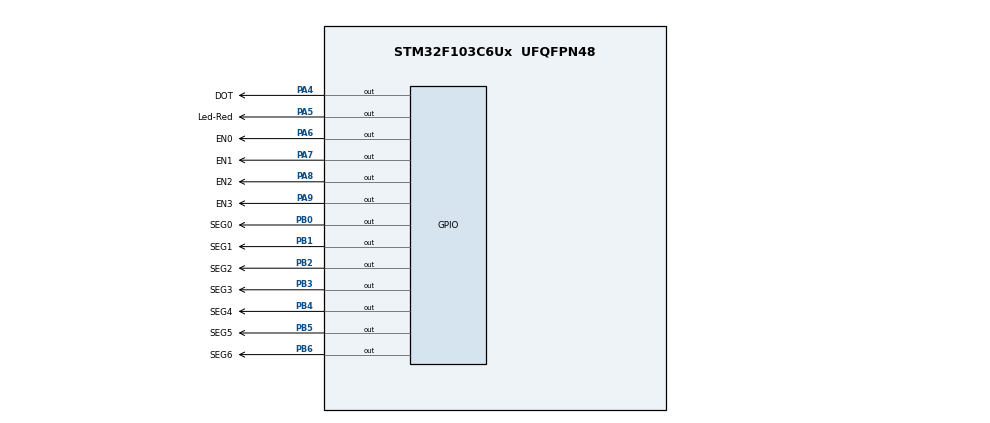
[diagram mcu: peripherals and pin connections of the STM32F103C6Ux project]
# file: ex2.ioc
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Mcu.Family=STM32F1
Mcu.Name=STM32F103C6Ux
Mcu.Package=UFQFPN48
NVIC.PriorityGroup=NVIC_PRIORITYGROUP_4
NVIC.TIM2_IRQn=true\:0\:0\:false\:false\:true\:true\:true
PA4.GPIO_Label=DOT
PA4.Signal=GPIO_Output
PA5.GPIO_Label=Led-Red
PA5.Signal=GPIO_Output
PA6.GPIO_Label=EN0
PA6.Signal=GPIO_Output
PA7.GPIO_Label=EN1
PA7.Signal=GPIO_Output
PA8.GPIO_Label=EN2
PA8.Signal=GPIO_Output
PA9.GPIO_Label=EN3
PA9.Signal=GPIO_Output
PB0.GPIO_Label=SEG0
PB0.Signal=GPIO_Output
PB1.GPIO_Label=SEG1
PB1.Signal=GPIO_Output
PB2.GPIO_Label=SEG2
PB2.Signal=GPIO_Output
PB3.GPIO_Label=SEG3
PB3.Signal=GPIO_Output
PB4.GPIO_Label=SEG4
PB4.Signal=GPIO_Output
PB5.GPIO_Label=SEG5
PB5.Signal=GPIO_Output
PB6.GPIO_Label=SEG6
PB6.Signal=GPIO_Output
ProjectManager.HeapSize=0x200
ProjectManager.StackSize=0x400
ProjectManager.TargetToolchain=STM32CubeIDE
RCC.APB1Freq_Value=8000000
RCC.APB2Freq_Value=8000000
TIM2.Period=9
TIM2.Prescaler=7999
VP_SYS_VS_ND.Mode=No_Debug
VP_TIM2_VS_ClockSourceINT.Mode=Internal
board=custom

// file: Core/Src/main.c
/* USER CODE BEGIN Header */
/**
  ******************************************************************************
  * @file           : main.c
  * @brief          : Main program body
  ******************************************************************************
  * @attention
  *
  * <h2><center>&copy; Copyright (c) 2026 STMicroelectronics.
  * All rights reserved.</center></h2>
  *
  * This software component is licensed by ST under BSD 3-Clause license,
  * the "License"; You may not use this file except in compliance with the
  * License. You may obtain a copy of the License at:
  *                        opensource.org/licenses/BSD-3-Clause
  *
  ******************************************************************************
  */
/* USER CODE END Header */
#include "main.h"

TIM_HandleTypeDef htim2;

void SystemClock_Config(void);
static void MX_GPIO_Init(void);
static void MX_TIM2_Init(void);

/* USER CODE BEGIN 0 */
/*  segOn[digit][segment], 1 = segment lit */
const uint8_t segOn[10][7] = {
    {1,1,1,1,1,1,0}, // 0
    {0,1,1,0,0,0,0}, // 1
    {1,1,0,1,1,0,1}, // 2
    {1,1,1,1,0,0,1}, // 3
    {0,1,1,0,0,1,1}, // 4
    {1,0,1,1,0,1,1}, // 5
    {1,0,1,1,1,1,1}, // 6
    {1,1,1,0,0,0,0}, // 7
    {1,1,1,1,1,1,1}, // 8
    {1,1,1,1,0,1,1}  // 9
};

/* Signal pins (shared by all 4 seven-segment displays), PB0-PB6 */
GPIO_TypeDef* segPorts[7] = { SEG0_GPIO_Port, SEG1_GPIO_Port, SEG2_GPIO_Port, SEG3_GPIO_Port,
                              SEG4_GPIO_Port, SEG5_GPIO_Port, SEG6_GPIO_Port };
uint16_t      segPins[7]  = { SEG0_Pin, SEG1_Pin, SEG2_Pin, SEG3_Pin,
                              SEG4_Pin, SEG5_Pin, SEG6_Pin };

/* Enable pins (one per seven-segment display), PA6-PA9 */
GPIO_TypeDef* enPorts[4] = { EN0_GPIO_Port, EN1_GPIO_Port, EN2_GPIO_Port, EN3_GPIO_Port };
uint16_t      enPins[4]  = { EN0_Pin, EN1_Pin, EN2_Pin, EN3_Pin };

int digit_buffer[4] = {1, 2, 3, 0};   /* displays "1 2 3 0" -> 12:30 */
int digit_index     = 0;              /* which seven-segment is currently lit */
int digit_tick      = 0;              /* counts 10ms ticks toward 500ms */

int  dot_tick  = 0;                   /* counts 10ms ticks toward 1000ms */
int dot_state = 0;

void showDigitOnSeg(int num) {
    for (int i = 0; i < 7; i++) {
        HAL_GPIO_WritePin(segPorts[i], segPins[i],
                           segOn[num][i] ? GPIO_PIN_RESET : GPIO_PIN_SET);
    }
}

/* USER CODE END 0 */

int main(void)
{

  /* MCU Configuration--------------------------------------------------------*/

  /* Reset of all peripherals, Initializes the Flash interface and the Systick. */
  HAL_Init();

  /* Configure the system clock */
  SystemClock_Config();

  /* Initialize all configured peripherals */
  MX_GPIO_Init();
  MX_TIM2_Init();
  /* USER CODE BEGIN 2 */
   HAL_TIM_Base_Start_IT(&htim2);

    /* start with every display off, then light the first digit */
    for (int i = 0; i < 4; i++) {
        HAL_GPIO_WritePin(enPorts[i], enPins[i], GPIO_PIN_SET);
    }
    showDigitOnSeg(digit_buffer[0]);
    HAL_GPIO_WritePin(enPorts[0], enPins[0], GPIO_PIN_RESET);

    /* DOT starts off */
    HAL_GPIO_WritePin(DOT_GPIO_Port, DOT_Pin, GPIO_PIN_SET);

  /* USER CODE END 2 */

  /* Infinite loop */
  while (1)
  {

  }
}

void SystemClock_Config(void)
{
  RCC_OscInitTypeDef RCC_OscInitStruct = {0};
  RCC_ClkInitTypeDef RCC_ClkInitStruct = {0};

  /** Initializes the RCC Oscillators according to the specified parameters
  * in the RCC_OscInitTypeDef structure.
  */
  RCC_OscInitStruct.OscillatorType = RCC_OSCILLATORTYPE_HSI;
  RCC_OscInitStruct.HSIState = RCC_HSI_ON;
  RCC_OscInitStruct.HSICalibrationValue = RCC_HSICALIBRATION_DEFAULT;
  RCC_OscInitStruct.PLL.PLLState = RCC_PLL_NONE;
  if (HAL_RCC_OscConfig(&RCC_OscInitStruct) != HAL_OK)
  {
    Error_Handler();
  }
  /** Initializes the CPU, AHB and APB buses clocks
  */
  RCC_ClkInitStruct.ClockType = RCC_CLOCKTYPE_HCLK|RCC_CLOCKTYPE_SYSCLK
                              |RCC_CLOCKTYPE_PCLK1|RCC_CLOCKTYPE_PCLK2;
  RCC_ClkInitStruct.SYSCLKSource = RCC_SYSCLKSOURCE_HSI;
  RCC_ClkInitStruct.AHBCLKDivider = RCC_SYSCLK_DIV1;
  RCC_ClkInitStruct.APB1CLKDivider = RCC_HCLK_DIV1;
  RCC_ClkInitStruct.APB2CLKDivider = RCC_HCLK_DIV1;

  if (HAL_RCC_ClockConfig(&RCC_ClkInitStruct, FLASH_LATENCY_0) != HAL_OK)
  {
    Error_Handler();
  }
}

static void MX_TIM2_Init(void)
{

  TIM_ClockConfigTypeDef sClockSourceConfig = {0};
  TIM_MasterConfigTypeDef sMasterConfig = {0};

  htim2.Instance = TIM2;
  htim2.Init.Prescaler = 7999;
  htim2.Init.CounterMode = TIM_COUNTERMODE_UP;
  htim2.Init.Period = 9;
  htim2.Init.ClockDivision = TIM_CLOCKDIVISION_DIV1;
  htim2.Init.AutoReloadPreload = TIM_AUTORELOAD_PRELOAD_DISABLE;
  if (HAL_TIM_Base_Init(&htim2) != HAL_OK)
  {
    Error_Handler();
  }
  sClockSourceConfig.ClockSource = TIM_CLOCKSOURCE_INTERNAL;
  if (HAL_TIM_ConfigClockSource(&htim2, &sClockSourceConfig) != HAL_OK)
  {
    Error_Handler();
  }
  sMasterConfig.MasterOutputTrigger = TIM_TRGO_RESET;
  sMasterConfig.MasterSlaveMode = TIM_MASTERSLAVEMODE_DISABLE;
  if (HAL_TIMEx_MasterConfigSynchronization(&htim2, &sMasterConfig) != HAL_OK)
  {
    Error_Handler();
  }

}

static void MX_GPIO_Init(void)
{
  GPIO_InitTypeDef GPIO_InitStruct = {0};

  /* GPIO Ports Clock Enable */
  __HAL_RCC_GPIOA_CLK_ENABLE();
  __HAL_RCC_GPIOB_CLK_ENABLE();

  /*Configure GPIO pin Output Level */
  HAL_GPIO_WritePin(GPIOA, DOT_Pin|Led_Red_Pin|EN0_Pin|EN1_Pin
                          |EN2_Pin|EN3_Pin, GPIO_PIN_RESET);

  /*Configure GPIO pin Output Level */
  HAL_GPIO_WritePin(GPIOB, SEG0_Pin|SEG1_Pin|SEG2_Pin|SEG3_Pin
                          |SEG4_Pin|SEG5_Pin|SEG6_Pin, GPIO_PIN_RESET);

  /*Configure GPIO pins : DOT_Pin Led_Red_Pin EN0_Pin EN1_Pin
                           EN2_Pin EN3_Pin */
  GPIO_InitStruct.Pin = DOT_Pin|Led_Red_Pin|EN0_Pin|EN1_Pin
                          |EN2_Pin|EN3_Pin;
  GPIO_InitStruct.Mode = GPIO_MODE_OUTPUT_PP;
  GPIO_InitStruct.Pull = GPIO_NOPULL;
  GPIO_InitStruct.Speed = GPIO_SPEED_FREQ_LOW;
  HAL_GPIO_Init(GPIOA, &GPIO_InitStruct);

  /*Configure GPIO pins : SEG0_Pin SEG1_Pin SEG2_Pin SEG3_Pin
                           SEG4_Pin SEG5_Pin SEG6_Pin */
  GPIO_InitStruct.Pin = SEG0_Pin|SEG1_Pin|SEG2_Pin|SEG3_Pin
                          |SEG4_Pin|SEG5_Pin|SEG6_Pin;
  GPIO_InitStruct.Mode = GPIO_MODE_OUTPUT_PP;
  GPIO_InitStruct.Pull = GPIO_NOPULL;
  GPIO_InitStruct.Speed = GPIO_SPEED_FREQ_LOW;
  HAL_GPIO_Init(GPIOB, &GPIO_InitStruct);

}

/* USER CODE BEGIN 4 */
void HAL_TIM_PeriodElapsedCallback(TIM_HandleTypeDef *htim)
{
    digit_tick++;
    if (digit_tick >= 50) {
        digit_tick = 0;

        HAL_GPIO_WritePin(enPorts[digit_index], enPins[digit_index], GPIO_PIN_SET); /* turn off current digit */

        digit_index = (digit_index + 1) % 4;

        showDigitOnSeg(digit_buffer[digit_index]);
        HAL_GPIO_WritePin(enPorts[digit_index], enPins[digit_index], GPIO_PIN_RESET); /* turn on next digit */
    }

    /* Blink every 1000ms */
    dot_tick++;
    if (dot_tick >= 100) {
        dot_tick = 0;
        dot_state = !dot_state;
        HAL_GPIO_WritePin(DOT_GPIO_Port, DOT_Pin, dot_state ? GPIO_PIN_RESET : GPIO_PIN_SET);
    }
}
/* USER CODE END 4 */

void Error_Handler(void)
{
  __disable_irq();
  while (1)
  {
  }
}

/************************ (C) COPYRIGHT STMicroelectronics *****END OF FILE****/
